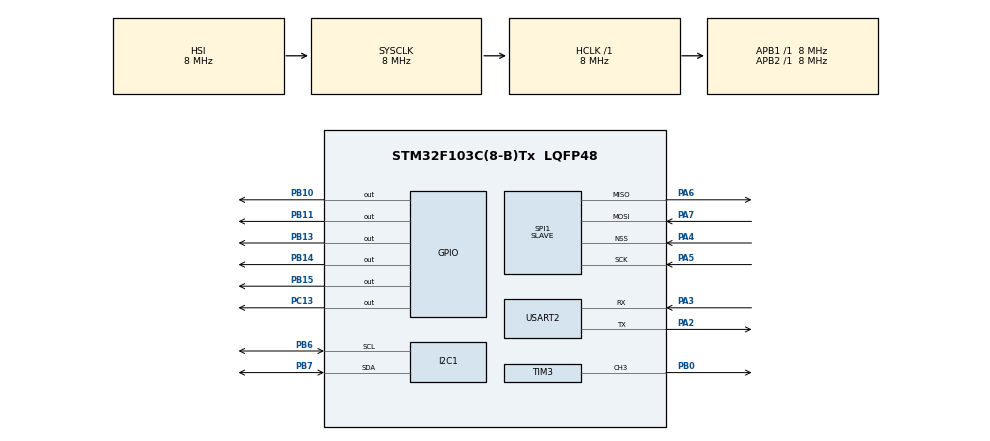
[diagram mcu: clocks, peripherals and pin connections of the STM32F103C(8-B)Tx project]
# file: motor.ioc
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Mcu.Family=STM32F1
Mcu.Name=STM32F103C(8-B)Tx
Mcu.Package=LQFP48
NVIC.PriorityGroup=NVIC_PRIORITYGROUP_4
NVIC.SPI1_IRQn=true\:0\:0\:false\:false\:true\:true\:true\:true
NVIC.TIM3_IRQn=true\:0\:0\:true\:false\:true\:true\:true\:true
PA13.Mode=Serial_Wire
PA13.Signal=SYS_JTMS-SWDIO
PA14.Mode=Serial_Wire
PA14.Signal=SYS_JTCK-SWCLK
PA2.Mode=Asynchronous
PA2.Signal=USART2_TX
PA3.Mode=Asynchronous
PA3.Signal=USART2_RX
PA4.Mode=NSS_Signal_Hard_Input
PA4.Signal=SPI1_NSS
PA5.Mode=Full_Duplex_Slave
PA5.Signal=SPI1_SCK
PA6.Mode=Full_Duplex_Slave
PA6.Signal=SPI1_MISO
PA7.Mode=Full_Duplex_Slave
PA7.Signal=SPI1_MOSI
PB0.Signal=S_TIM3_CH3
PB10.Signal=GPIO_Output
PB11.Signal=GPIO_Output
PB13.Signal=GPIO_Output
PB14.Signal=GPIO_Output
PB15.Signal=GPIO_Output
PB6.Mode=I2C
PB6.Signal=I2C1_SCL
PB7.Mode=I2C
PB7.Signal=I2C1_SDA
PC13-TAMPER-RTC.Signal=GPIO_Output
PD0-OSC_IN.Mode=HSE-External-Oscillator
PD0-OSC_IN.Signal=RCC_OSC_IN
PD1-OSC_OUT.Mode=HSE-External-Oscillator
PD1-OSC_OUT.Signal=RCC_OSC_OUT
ProjectManager.HeapSize=0x200
ProjectManager.StackSize=0x400
ProjectManager.TargetToolchain=CMake
RCC.AHBFreq_Value=8000000
RCC.APB1Freq_Value=8000000
RCC.APB1TimFreq_Value=8000000
RCC.APB2Freq_Value=8000000
RCC.APB2TimFreq_Value=8000000
RCC.HCLKFreq_Value=8000000
RCC.SYSCLKFreq_VALUE=8000000
RCC.USBFreq_Value=8000000
SH.S_TIM3_CH3.0=TIM3_CH3,Output Compare3 CH3
SPI1.Direction=SPI_DIRECTION_2LINES
SPI1.Mode=SPI_MODE_SLAVE
SPI1.VirtualNSS=VM_NSSHARD
SPI1.VirtualType=VM_SLAVE
TIM3.AutoReloadPreload=TIM_AUTORELOAD_PRELOAD_ENABLE
TIM3.Channel-Output\ Compare3\ CH3=TIM_CHANNEL_3
TIM3.CounterMode=TIM_COUNTERMODE_UP
TIM3.OC3Preload=ENABLE
TIM3.OCMode_3=TIM_OCMODE_TOGGLE
TIM3.Prescaler=31
USART2.VirtualMode=VM_ASYNC
VP_TIM3_VS_ClockSourceINT.Mode=Internal
board=custom

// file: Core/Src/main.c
/* USER CODE BEGIN Header */
/**
  ******************************************************************************
  * @file           : main.c
  * @brief          : Main program body
  ******************************************************************************
  * @attention
  *
  * Copyright (c) 2026 STMicroelectronics.
  * All rights reserved.
  *
  * This software is licensed under terms that can be found in the LICENSE file
  * in the root directory of this software component.
  * If no LICENSE file comes with this software, it is provided AS-IS.
  *
  ******************************************************************************
  */
/* USER CODE END Header */
#include "main.h"

/* USER CODE BEGIN Includes */
#include "stm32_hal_legacy.h"
#include "stm32f103xb.h"
#include "stm32f1xx_hal_tim.h"
#include "stm32f1xx_hal.h"
#include "stm32f1xx_hal_def.h"
#include "stm32f1xx_hal_gpio.h"
#include "stdlib.h"
#include "as5600.h"
/* USER CODE END Includes */

/* USER CODE BEGIN PD */
#define DRV8825_1_STEP 0x00
#define DRV8825_2_STEP 0x01
#define DRV8825_4_STEP 0x02
#define DRV8825_8_STEP 0x03
#define DRV8825_16_STEP 0x04
#define DRV8825_32_STEP 0x05

#define MIN_PERIOD 64 // Minimum period for the step signal
/* USER CODE END PD */

I2C_HandleTypeDef hi2c1;

SPI_HandleTypeDef hspi1;

TIM_HandleTypeDef htim3;

UART_HandleTypeDef huart2;

void SystemClock_Config(void);
static void MX_GPIO_Init(void);
static void MX_I2C1_Init(void);
static void MX_SPI1_Init(void);
static void MX_TIM3_Init(void);
static void MX_USART2_UART_Init(void);

/* USER CODE BEGIN 0 */
void set_period(uint16_t period) {  // Sets the period for the step signal
  // TIM_OC_InitTypeDef sConfigOC;

  // sConfigOC.OCMode = TIM_OCMODE_TOGGLE;
  // sConfigOC.Pulse = period;
  // sConfigOC.OCPolarity = TIM_OCPOLARITY_HIGH;
  // sConfigOC.OCFastMode = TIM_OCFAST_DISABLE;

  // if (HAL_TIM_OC_ConfigChannel(&htim3, &sConfigOC, TIM_CHANNEL_3) != HAL_OK)
  // {
  //   Error_Handler();
  // }

  if (period < MIN_PERIOD) period = MIN_PERIOD;
  __HAL_TIM_SET_COMPARE(&htim3, TIM_CHANNEL_3, period);
  __HAL_TIM_SET_AUTORELOAD(&htim3, period);
}

void set_microstep(uint8_t microstep) { // Sets the microstepping mode
  switch(microstep) {
    case DRV8825_1_STEP:
      HAL_GPIO_WritePin(GPIOB, GPIO_PIN_13, GPIO_PIN_RESET);
      HAL_GPIO_WritePin(GPIOB, GPIO_PIN_14, GPIO_PIN_RESET);
      HAL_GPIO_WritePin(GPIOB, GPIO_PIN_15, GPIO_PIN_RESET);
      break;
    case DRV8825_2_STEP:
      HAL_GPIO_WritePin(GPIOB, GPIO_PIN_13, GPIO_PIN_SET);
      HAL_GPIO_WritePin(GPIOB, GPIO_PIN_14, GPIO_PIN_RESET);
      HAL_GPIO_WritePin(GPIOB, GPIO_PIN_15, GPIO_PIN_RESET);
      break;
    case DRV8825_4_STEP:
      HAL_GPIO_WritePin(GPIOB, GPIO_PIN_13, GPIO_PIN_RESET);
      HAL_GPIO_WritePin(GPIOB, GPIO_PIN_14, GPIO_PIN_SET);
      HAL_GPIO_WritePin(GPIOB, GPIO_PIN_15, GPIO_PIN_RESET);
      break;
    case DRV8825_8_STEP:
      HAL_GPIO_WritePin(GPIOB, GPIO_PIN_13, GPIO_PIN_SET);
      HAL_GPIO_WritePin(GPIOB, GPIO_PIN_14, GPIO_PIN_SET);
      HAL_GPIO_WritePin(GPIOB, GPIO_PIN_15, GPIO_PIN_RESET);
      break;
    case DRV8825_16_STEP:
      HAL_GPIO_WritePin(GPIOB, GPIO_PIN_13, GPIO_PIN_RESET);
      HAL_GPIO_WritePin(GPIOB, GPIO_PIN_14, GPIO_PIN_RESET);
      HAL_GPIO_WritePin(GPIOB, GPIO_PIN_15, GPIO_PIN_SET);
      break;
    case DRV8825_32_STEP:
      HAL_GPIO_WritePin(GPIOB, GPIO_PIN_13, GPIO_PIN_SET);
      HAL_GPIO_WritePin(GPIOB, GPIO_PIN_14, GPIO_PIN_SET);
      HAL_GPIO_WritePin(GPIOB, GPIO_PIN_15, GPIO_PIN_SET);
      break;
    default:
      break;
  }
}

volatile uint8_t spi_rx_complete_flag = 0;
volatile uint16_t received_frame;
volatile uint16_t period;

void HAL_SPI_RxCpltCallback(SPI_HandleTypeDef *hspi) {

  uint8_t enable = (received_frame & 0x8000) != 0; // check MSB
  uint8_t direction = (received_frame & 0x4000) != 0; // check bit 14
  uint16_t raw_period = received_frame & 0x0FFF; // last 12 bits

  uint8_t microstep;
  if(raw_period < MIN_PERIOD) {
    microstep = DRV8825_1_STEP;
    period = MIN_PERIOD;
  } else if(raw_period >= 128) {
    microstep = DRV8825_4_STEP;
    period = raw_period / 4;
  } else {
    microstep = DRV8825_1_STEP;
    period = raw_period;
  }

  set_microstep(microstep);
  set_period(period);
  HAL_GPIO_WritePin(GPIOB, GPIO_PIN_1, !enable); // enable is low active on PB1
  HAL_GPIO_WritePin(GPIOB, GPIO_PIN_10, direction); // direction on PB2

  // uint8_t Test[] = "SPI\n"; //Data to send
  // char Test[20];
  // sprintf(Test, "SPI: 0x%04X\r\n", received_frame);
  // HAL_UART_Transmit(&huart2, (uint8_t*)Test, sizeof(Test), 10);// Sending in normal mode
  // if(enable) HAL_UART_Transmit(&huart2, (uint8_t*)"e\r\n", 3, 10);

  HAL_SPI_Receive_IT(&hspi1, (uint8_t*)&received_frame, 2); // Restart SPI reception
}

AS5600_TypeDef *a;

volatile uint8_t period_cnt = 0;
volatile uint8_t angle_sample_flag = 0;
volatile uint16_t last_valid_angle = 0;

float theoretical_angle_float = 0;
uint16_t angle_theo = 0;

void HAL_TIM_PeriodElapsedCallback(TIM_HandleTypeDef *htim)
{
    if (htim->Instance == htim3.Instance) {
      theoretical_angle_float += 20.48f;

      if (theoretical_angle_float >= 4096.0f) {
        theoretical_angle_float -= 4096.0f;
      }

      angle_theo = (uint16_t)theoretical_angle_float;
      period_cnt++;

      if (period_cnt >= 50) {
        period_cnt = 0;
        angle_sample_flag = 1;
      }
    }
}

uint16_t get_angle(void) {
  uint16_t current_angle = 0;

  if (angle_sample_flag == 1) {
    if (AS5600_GetAngle(a, &current_angle) == HAL_OK) {
      last_valid_angle = current_angle;
      HAL_GPIO_WritePin(GPIOB, GPIO_PIN_11, GPIO_PIN_SET);
    }

    HAL_GPIO_WritePin(GPIOB, GPIO_PIN_11, GPIO_PIN_RESET);
    angle_sample_flag = 0;
  }

  return last_valid_angle;
}
/* USER CODE END 0 */

int main(void)
{

  /* MCU Configuration--------------------------------------------------------*/

  /* Reset of all peripherals, Initializes the Flash interface and the Systick. */
  HAL_Init();

  /* Configure the system clock */
  SystemClock_Config();

  /* Initialize all configured peripherals */
  MX_GPIO_Init();
  MX_I2C1_Init();
  MX_SPI1_Init();
  MX_TIM3_Init();
  MX_USART2_UART_Init();
  /* USER CODE BEGIN 2 */
  __HAL_TIM_GET_COUNTER(&htim3);
  HAL_TIM_Base_Start_IT(&htim3);
  HAL_TIM_OC_Start(&htim3, TIM_CHANNEL_3);
  // HAL_GPIO_WritePin(GPIOB, GPIO_PIN_1, 1);
  HAL_SPI_Receive_IT(&hspi1, (uint8_t*)&received_frame, 2);

  a = AS5600_New();
  a->i2cAddr = (0x36 << 1); // 7-bit address shifted for HAL
  a->i2cHandle = &hi2c1;
  a->DirPort = GPIOB;
  a->DirPin = GPIO_PIN_5;
  a->PositiveRotationDirection = 0;
  /* USER CODE END 2 */

  /* Infinite loop */
  /* USER CODE BEGIN WHILE */
  while (1)
  {
    uint16_t angle_meas = get_angle();
    int16_t error = (int16_t)angle_meas - (int16_t)angle_theo;

    if (error > 50) {
      if (period < 2000) period++;
        set_period(period);
    }

    else if (error < -50) {
      if (period > MIN_PERIOD) period--;
        set_period(period);
    }

    HAL_Delay(50);
    /* USER CODE END WHILE */

  }
}

void SystemClock_Config(void)
{
  RCC_OscInitTypeDef RCC_OscInitStruct = {0};
  RCC_ClkInitTypeDef RCC_ClkInitStruct = {0};

  /** Initializes the RCC Oscillators according to the specified parameters
  * in the RCC_OscInitTypeDef structure.
  */
  RCC_OscInitStruct.OscillatorType = RCC_OSCILLATORTYPE_HSI;
  RCC_OscInitStruct.HSIState = RCC_HSI_ON;
  RCC_OscInitStruct.HSICalibrationValue = RCC_HSICALIBRATION_DEFAULT;
  RCC_OscInitStruct.PLL.PLLState = RCC_PLL_NONE;
  if (HAL_RCC_OscConfig(&RCC_OscInitStruct) != HAL_OK)
  {
    Error_Handler();
  }

  /** Initializes the CPU, AHB and APB buses clocks
  */
  RCC_ClkInitStruct.ClockType = RCC_CLOCKTYPE_HCLK|RCC_CLOCKTYPE_SYSCLK
                              |RCC_CLOCKTYPE_PCLK1|RCC_CLOCKTYPE_PCLK2;
  RCC_ClkInitStruct.SYSCLKSource = RCC_SYSCLKSOURCE_HSI;
  RCC_ClkInitStruct.AHBCLKDivider = RCC_SYSCLK_DIV1;
  RCC_ClkInitStruct.APB1CLKDivider = RCC_HCLK_DIV1;
  RCC_ClkInitStruct.APB2CLKDivider = RCC_HCLK_DIV1;

  if (HAL_RCC_ClockConfig(&RCC_ClkInitStruct, FLASH_LATENCY_0) != HAL_OK)
  {
    Error_Handler();
  }
}

static void MX_I2C1_Init(void)
{

  hi2c1.Instance = I2C1;
  hi2c1.Init.ClockSpeed = 100000;
  hi2c1.Init.DutyCycle = I2C_DUTYCYCLE_2;
  hi2c1.Init.OwnAddress1 = 0;
  hi2c1.Init.AddressingMode = I2C_ADDRESSINGMODE_7BIT;
  hi2c1.Init.DualAddressMode = I2C_DUALADDRESS_DISABLE;
  hi2c1.Init.OwnAddress2 = 0;
  hi2c1.Init.GeneralCallMode = I2C_GENERALCALL_DISABLE;
  hi2c1.Init.NoStretchMode = I2C_NOSTRETCH_DISABLE;
  if (HAL_I2C_Init(&hi2c1) != HAL_OK)
  {
    Error_Handler();
  }

}

static void MX_SPI1_Init(void)
{

  /* SPI1 parameter configuration*/
  hspi1.Instance = SPI1;
  hspi1.Init.Mode = SPI_MODE_SLAVE;
  hspi1.Init.Direction = SPI_DIRECTION_2LINES;
  hspi1.Init.DataSize = SPI_DATASIZE_8BIT;
  hspi1.Init.CLKPolarity = SPI_POLARITY_LOW;
  hspi1.Init.CLKPhase = SPI_PHASE_1EDGE;
  hspi1.Init.NSS = SPI_NSS_HARD_INPUT;
  hspi1.Init.FirstBit = SPI_FIRSTBIT_MSB;
  hspi1.Init.TIMode = SPI_TIMODE_DISABLE;
  hspi1.Init.CRCCalculation = SPI_CRCCALCULATION_DISABLE;
  hspi1.Init.CRCPolynomial = 10;
  if (HAL_SPI_Init(&hspi1) != HAL_OK)
  {
    Error_Handler();
  }

}

static void MX_TIM3_Init(void)
{

  TIM_ClockConfigTypeDef sClockSourceConfig = {0};
  TIM_MasterConfigTypeDef sMasterConfig = {0};
  TIM_OC_InitTypeDef sConfigOC = {0};

  htim3.Instance = TIM3;
  htim3.Init.Prescaler = 31;
  htim3.Init.CounterMode = TIM_COUNTERMODE_UP;
  htim3.Init.Period = 65535;
  htim3.Init.ClockDivision = TIM_CLOCKDIVISION_DIV1;
  htim3.Init.AutoReloadPreload = TIM_AUTORELOAD_PRELOAD_ENABLE;
  if (HAL_TIM_Base_Init(&htim3) != HAL_OK)
  {
    Error_Handler();
  }
  sClockSourceConfig.ClockSource = TIM_CLOCKSOURCE_INTERNAL;
  if (HAL_TIM_ConfigClockSource(&htim3, &sClockSourceConfig) != HAL_OK)
  {
    Error_Handler();
  }
  if (HAL_TIM_OC_Init(&htim3) != HAL_OK)
  {
    Error_Handler();
  }
  sMasterConfig.MasterOutputTrigger = TIM_TRGO_RESET;
  sMasterConfig.MasterSlaveMode = TIM_MASTERSLAVEMODE_DISABLE;
  if (HAL_TIMEx_MasterConfigSynchronization(&htim3, &sMasterConfig) != HAL_OK)
  {
    Error_Handler();
  }
  sConfigOC.OCMode = TIM_OCMODE_TOGGLE;
  sConfigOC.Pulse = 0;
  sConfigOC.OCPolarity = TIM_OCPOLARITY_HIGH;
  sConfigOC.OCFastMode = TIM_OCFAST_DISABLE;
  if (HAL_TIM_OC_ConfigChannel(&htim3, &sConfigOC, TIM_CHANNEL_3) != HAL_OK)
  {
    Error_Handler();
  }
  __HAL_TIM_ENABLE_OCxPRELOAD(&htim3, TIM_CHANNEL_3);
  HAL_TIM_MspPostInit(&htim3);

}

static void MX_USART2_UART_Init(void)
{

  huart2.Instance = USART2;
  huart2.Init.BaudRate = 115200;
  huart2.Init.WordLength = UART_WORDLENGTH_8B;
  huart2.Init.StopBits = UART_STOPBITS_1;
  huart2.Init.Parity = UART_PARITY_NONE;
  huart2.Init.Mode = UART_MODE_TX_RX;
  huart2.Init.HwFlowCtl = UART_HWCONTROL_NONE;
  huart2.Init.OverSampling = UART_OVERSAMPLING_16;
  if (HAL_UART_Init(&huart2) != HAL_OK)
  {
    Error_Handler();
  }

}

static void MX_GPIO_Init(void)
{
  GPIO_InitTypeDef GPIO_InitStruct = {0};

  /* GPIO Ports Clock Enable */
  __HAL_RCC_GPIOC_CLK_ENABLE();
  __HAL_RCC_GPIOD_CLK_ENABLE();
  __HAL_RCC_GPIOA_CLK_ENABLE();
  __HAL_RCC_GPIOB_CLK_ENABLE();

  /*Configure GPIO pin Output Level */
  HAL_GPIO_WritePin(GPIOC, GPIO_PIN_13, GPIO_PIN_RESET);

  /*Configure GPIO pin Output Level */
  HAL_GPIO_WritePin(GPIOB, GPIO_PIN_10|GPIO_PIN_11|GPIO_PIN_13|GPIO_PIN_14
                          |GPIO_PIN_15, GPIO_PIN_RESET);

  /*Configure GPIO pin : PC13 */
  GPIO_InitStruct.Pin = GPIO_PIN_13;
  GPIO_InitStruct.Mode = GPIO_MODE_OUTPUT_PP;
  GPIO_InitStruct.Pull = GPIO_NOPULL;
  GPIO_InitStruct.Speed = GPIO_SPEED_FREQ_LOW;
  HAL_GPIO_Init(GPIOC, &GPIO_InitStruct);

  /*Configure GPIO pins : PB10 PB11 PB13 PB14
                           PB15 */
  GPIO_InitStruct.Pin = GPIO_PIN_10|GPIO_PIN_11|GPIO_PIN_13|GPIO_PIN_14
                          |GPIO_PIN_15;
  GPIO_InitStruct.Mode = GPIO_MODE_OUTPUT_PP;
  GPIO_InitStruct.Pull = GPIO_NOPULL;
  GPIO_InitStruct.Speed = GPIO_SPEED_FREQ_LOW;
  HAL_GPIO_Init(GPIOB, &GPIO_InitStruct);

}

void Error_Handler(void)
{
  __disable_irq();
  while (1)
  {
  }
}
